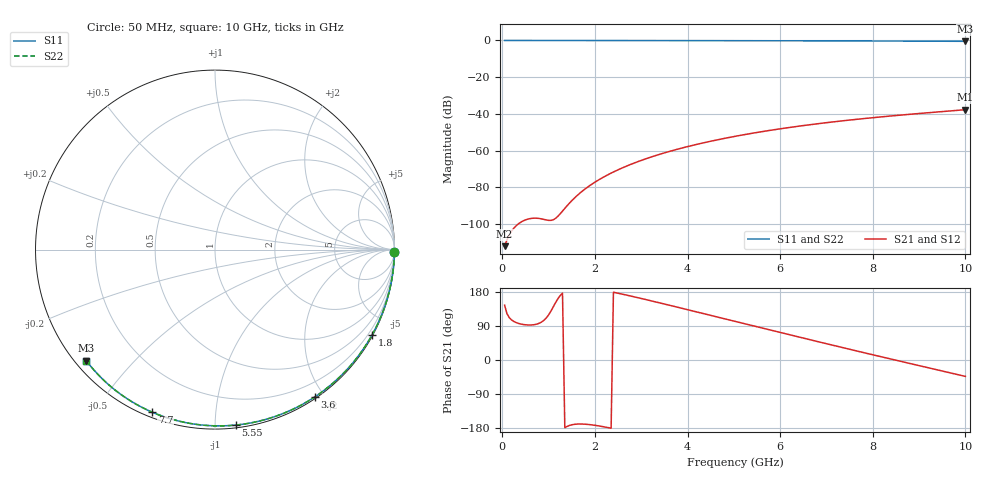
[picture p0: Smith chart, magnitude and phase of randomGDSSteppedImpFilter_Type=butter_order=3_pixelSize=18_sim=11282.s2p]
! freq	dB(S11)	phase(S11)	dB(S12)	phase(S12)
!  dB(S21)	phase(S21)	dB(S22)	phase(S22)
!S-par simulation data
#  GHz  S  DB  R 50
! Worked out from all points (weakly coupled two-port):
!   200 points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, 50 MHz to 10 GHz, reference 50 ohm
!   highest |S21| = -37.74 dB at 10 GHz (marker M1); lowest = -112.1 dB at 50 MHz (marker M2)
!   lowest |S11| = -0.5 dB at 10 GHz (marker M3), VSWR 36.94, Z = 1.54 - j18.6 ohm
!   |S11| at or under -10 dB: nowhere
!   |S22| runs from -0.5 to 0.0 dB; largest |S21 - S12| = 0
!   S11 on the Smith chart (normalised r, x): 50 MHz: open; 1.8 GHz: 0.03, -3.93; 3.6 GHz: 0.02, -1.89; 5.55 GHz: 0.02, -1.13; 7.7 GHz: 0.02, -0.69; 10 GHz: 0.03, -0.37
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0.05  -0.00 -0.8  -112.11 144.6  -112.11 144.6  -0.00 -0.8
0.45  -0.01 -7.2  -98.34 93.7  -98.34 93.7  -0.01 -7.2
0.9  -0.02 -14.4  -97.53 104.9  -97.53 104.9  -0.02 -14.4
1.75  -0.04 -27.8  -81.67 -169.1  -81.67 -169.1  -0.04 -27.8
1.8  -0.04 -28.6  -80.70 -169.5  -80.70 -169.5  -0.04 -28.6
1.85  -0.04 -29.3  -79.78 -170.0  -79.78 -170.0  -0.04 -29.3
2  -0.04 -31.7  -77.24 -172.3  -77.24 -172.3  -0.04 -31.7
2.15  -0.04 -34.0  -74.97 -175.3  -74.97 -175.3  -0.04 -34.0
2.35  -0.05 -37.0  -72.29 -180.0  -72.29 -180.0  -0.05 -37.0
2.55  -0.05 -40.1  -69.91 174.9  -69.91 174.9  -0.05 -40.1
2.95  -0.06 -46.1  -65.83 163.8  -65.83 163.8  -0.06 -46.1
3.4  -0.07 -52.8  -62.03 150.7  -62.03 150.7  -0.07 -52.8
3.6  -0.08 -55.8  -60.53 144.8  -60.53 144.8  -0.08 -55.8
4.3  -0.09 -65.9  -56.04 123.8  -56.04 123.8  -0.09 -65.9
5.05  -0.12 -76.4  -52.14 101.2  -52.14 101.2  -0.12 -76.4
5.55  -0.14 -83.2  -49.93 86.2  -49.93 86.2  -0.14 -83.2
6.1  -0.16 -90.5  -47.78 69.7  -47.78 69.7  -0.16 -90.5
6.7  -0.19 -98.4  -45.73 51.8  -45.73 51.8  -0.19 -98.4
7.7  -0.25 -111.0  -42.84 22.4  -42.84 22.4  -0.25 -111.0
8.35  -0.31 -119.1  -41.25 3.7  -41.25 3.7  -0.31 -119.1
9.2  -0.38 -129.5  -39.38 -20.5  -39.38 -20.5  -0.38 -129.5
10  -0.47 -139.2  -37.74 -43.3  -37.74 -43.3  -0.47 -139.2
